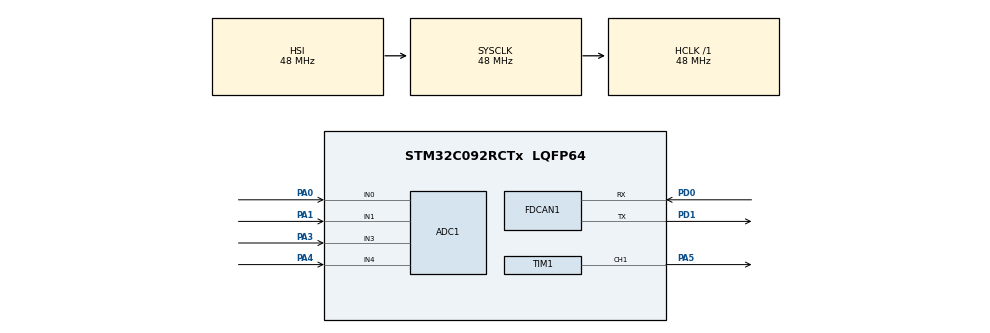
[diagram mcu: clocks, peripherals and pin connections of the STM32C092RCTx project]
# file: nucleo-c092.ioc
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ADC1.DMAContinuousRequests=ENABLE
ADC1.NbrOfConversionFlag=0
ADC1.SamplingTimeCommon1=ADC_SAMPLETIME_160CYCLES_5
ADC1.SelectedChannel=ADC_CHANNEL_0|ADC_CHANNEL_1|ADC_CHANNEL_3|ADC_CHANNEL_4
ADC1.WDG3CONV1Channel1=ADC_CHANNEL_0
ADC1.WDGCONV1Channel1=ADC_CHANNEL_0
ADC1.master=1
Dma.ADC1.0.Direction=DMA_PERIPH_TO_MEMORY
Dma.ADC1.0.EventEnable=DISABLE
Dma.ADC1.0.Instance=DMA1_Channel1
Dma.ADC1.0.MemDataAlignment=DMA_MDATAALIGN_HALFWORD
Dma.ADC1.0.MemInc=DMA_MINC_ENABLE
Dma.ADC1.0.Mode=DMA_CIRCULAR
Dma.ADC1.0.PeriphDataAlignment=DMA_PDATAALIGN_HALFWORD
Dma.ADC1.0.PeriphInc=DMA_PINC_DISABLE
Dma.ADC1.0.Polarity=HAL_DMAMUX_REQ_GEN_RISING
Dma.ADC1.0.Priority=DMA_PRIORITY_LOW
Dma.ADC1.0.RequestNumber=1
Dma.ADC1.0.SignalID=NONE
Dma.ADC1.0.SyncEnable=DISABLE
Dma.ADC1.0.SyncPolarity=HAL_DMAMUX_SYNC_NO_EVENT
Dma.ADC1.0.SyncRequestNumber=1
Dma.ADC1.0.SyncSignalID=NONE
Dma.Request0=ADC1
FDCAN1.CalculateBaudRateNominal=250000
FDCAN1.CalculateTimeBitNominal=4000
FDCAN1.CalculateTimeQuantumNominal=666.6666666666666
FDCAN1.NominalPrescaler=32
FDCAN1.NominalTimeSeg1=4
Mcu.Family=STM32C0
Mcu.Name=STM32C092RCTx
Mcu.Package=LQFP64
NVIC.DMA1_Channel1_IRQn=true\:0\:0\:false\:false\:true\:false\:true\:true
NVIC.FDCAN1_IT0_IRQn=true\:0\:0\:false\:false\:true\:true\:true\:true
NVIC.FDCAN1_IT1_IRQn=true\:0\:0\:false\:false\:true\:true\:true\:true
PA0.Mode=IN0
PA0.Signal=ADC1_IN0
PA1.Mode=IN1
PA1.Signal=ADC1_IN1
PA13.Mode=Serial_Wire
PA13.Signal=DEBUG_SWDIO
PA14-BOOT0.Mode=Serial_Wire
PA14-BOOT0.Signal=DEBUG_SWCLK
PA3.Mode=IN3
PA3.Signal=ADC1_IN3
PA4.Mode=IN4
PA4.Signal=ADC1_IN4
PA5.Signal=S_TIM1_CH1
PD0.Mode=FDCAN_Activate
PD0.Signal=FDCAN1_RX
PD1.Mode=FDCAN_Activate
PD1.Signal=FDCAN1_TX
ProjectManager.HeapSize=0x200
ProjectManager.StackSize=0x400
ProjectManager.TargetToolchain=Makefile
RCC.ADCFreq_Value=48000000
RCC.AHBFreq_Value=48000000
RCC.CortexFreq_Value=48000000
RCC.EXTERNAL_CLOCK_VALUE=12288000
RCC.HCLKFreq_Value=48000000
RCC.HSE_VALUE=8000000
RCC.HSISYSCLKDivider=RCC_HSI_DIV1
RCC.HSI_VALUE=48000000
RCC.LSE_VALUE=32768
RCC.SYSCLKFreq_VALUE=48000000
SH.S_TIM1_CH1.0=TIM1_CH1,PWM Generation1 CH1
TIM1.Channel-PWM\ Generation1\ CH1=TIM_CHANNEL_1
board=custom

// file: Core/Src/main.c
/* USER CODE BEGIN Header */
/**
 ******************************************************************************
 * @file           : main.c
 * @brief          : Main program body
 ******************************************************************************
 * @attention
 *
 * Copyright (c) 2025 STMicroelectronics.
 * All rights reserved.
 *
 * This software is licensed under terms that can be found in the LICENSE file
 * in the root directory of this software component.
 * If no LICENSE file comes with this software, it is provided AS-IS.
 *
 ******************************************************************************
 */
/* USER CODE END Header */
#include "main.h"
#include "adc.h"
#include "dma.h"
#include "fdcan.h"
#include "tim.h"
#include "gpio.h"

/* USER CODE BEGIN Includes */
#include "can_lib.h"
#include "queue.h"
/* USER CODE END Includes */

/* USER CODE BEGIN PM */
#define ADC_CHANNEL_COUNT 4

/* USER CODE END PM */

/* USER CODE BEGIN PV */
Queue TxQueue;
Queue RxQueue;
uint8_t data[8] = {0x01, 0x02, 0x03, 0x04, 0x05, 0x06, 0x07, 0x08};
uint8_t swInfo[8] = {SOLAR_CORE_ECU_ID, SOLAR_CORE_SW_VERSION_MAJOR, SOLAR_CORE_SW_VERSION_MINOR, SOLAR_CORE_SW_VERSION_PATCH, 0x00, 0x00, 0x00, 0x00};
uint8_t hwInfo[8] = {SOLAR_CORE_ECU_ID, SOLAR_CORE_HW_VERSION_MAJOR, SOLAR_CORE_HW_VERSION_MINOR, SOLAR_CORE_HW_VERSION_PATCH, 0x00, 0x00, 0x00, 0x00};
uint16_t adc_buffer[ADC_CHANNEL_COUNT];

// uint8_t swInfo[8] = {0x00, 0x00, 0x00, 0x00, 0x00, 0x00, 0x00, 0x00};
// uint8_t hwInfo[8] = {0x00, 0x00, 0x00, 0x00, 0x00, 0x00, 0x00, 0x00};

uint32_t uid[3];

/* USER CODE END PV */

void SystemClock_Config(void);

int main(void)
{

  /* MCU Configuration--------------------------------------------------------*/

  /* Reset of all peripherals, Initializes the Flash interface and the Systick. */
  HAL_Init();

  /* Configure the system clock */
  SystemClock_Config();

  /* Initialize all configured peripherals */
  MX_GPIO_Init();
  MX_DMA_Init();
  MX_FDCAN1_Init();
  MX_TIM1_Init();
  MX_ADC1_Init();
  /* USER CODE BEGIN 2 */
  FDCAN_Setup();
  Queue_Init(&TxQueue);
  Queue_Init(&RxQueue);
  HAL_TIM_PWM_Start(&htim1, TIM_CHANNEL_1);
  send_UUID(uid);

  /* USER CODE END 2 */

  /* USER CODE BEGIN 3 */
  /* Infinite loop */
  /* USER CODE BEGIN WHILE */
  uint32_t lastTickSW = 0;
  uint32_t lastTickHW = 0;
  const uint32_t intervalSW = 500; // 500 ms
  const uint32_t intervalHW = 500; // 500 ms

  HAL_ADC_Start_DMA(&hadc1, (uint32_t*)adc_buffer, ADC_CHANNEL_COUNT);

  while (1)
  {

    uint32_t currentTick = HAL_GetTick();

    if ((currentTick - lastTickSW) >= intervalSW)
    {
      lastTickSW = currentTick;
      Transmit_on_CAN(SOLAR_CORE_TX_SW_VER, S, swInfo, 8);
    }

    // Transmit HW version every 510 ms
    if ((currentTick - lastTickHW) >= intervalHW)
    {
      lastTickHW = currentTick;
      Transmit_on_CAN(SOLAR_CORE_TX_HW_VER, S, hwInfo, 8);
    }
    Transmit_TxQueue();
    Process_RxQueue(); // Keep processing Rx messages continuously
  }
  /* USER CODE END 3 */
}

void SystemClock_Config(void)
{
  RCC_OscInitTypeDef RCC_OscInitStruct = {0};
  RCC_ClkInitTypeDef RCC_ClkInitStruct = {0};

  __HAL_FLASH_SET_LATENCY(FLASH_LATENCY_1);

  /** Initializes the RCC Oscillators according to the specified parameters
   * in the RCC_OscInitTypeDef structure.
   */
  RCC_OscInitStruct.OscillatorType = RCC_OSCILLATORTYPE_HSI;
  RCC_OscInitStruct.HSIState = RCC_HSI_ON;
  RCC_OscInitStruct.HSIDiv = RCC_HSI_DIV1;
  RCC_OscInitStruct.HSICalibrationValue = RCC_HSICALIBRATION_DEFAULT;
  if (HAL_RCC_OscConfig(&RCC_OscInitStruct) != HAL_OK)
  {
    Error_Handler();
  }

  /** Initializes the CPU, AHB and APB buses clocks
   */
  RCC_ClkInitStruct.ClockType = RCC_CLOCKTYPE_HCLK | RCC_CLOCKTYPE_SYSCLK | RCC_CLOCKTYPE_PCLK1;
  RCC_ClkInitStruct.SYSCLKSource = RCC_SYSCLKSOURCE_HSI;
  RCC_ClkInitStruct.SYSCLKDivider = RCC_SYSCLK_DIV1;
  RCC_ClkInitStruct.AHBCLKDivider = RCC_HCLK_DIV1;
  RCC_ClkInitStruct.APB1CLKDivider = RCC_APB1_DIV1;

  if (HAL_RCC_ClockConfig(&RCC_ClkInitStruct, FLASH_LATENCY_1) != HAL_OK)
  {
    Error_Handler();
  }
}

void Error_Handler(void)
{
  __disable_irq();
  while (1)
  {
  }
}
